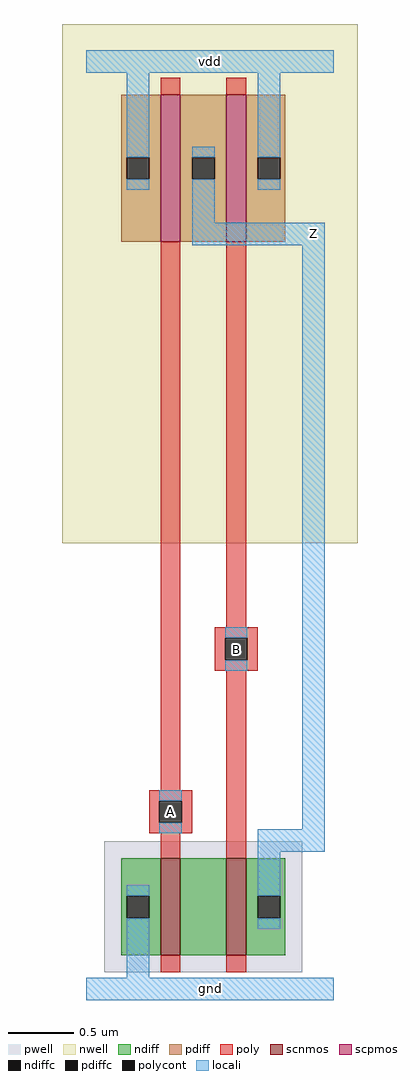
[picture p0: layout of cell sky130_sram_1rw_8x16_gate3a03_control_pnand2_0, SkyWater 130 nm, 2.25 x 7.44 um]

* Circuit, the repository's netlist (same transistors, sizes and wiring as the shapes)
* NGSPICE file created from sky130_sram_1rw_8x16_gate3a03_control_pnand2_0.ext - technology: sky130A

.subckt sky130_sram_1rw_8x16_gate3a03_control_pnand2_0 Z gnd vdd A B
X0 a_144_51# A gnd VSUBS sky130_fd_pr__nfet_01v8 ad=0.259p pd=2.18u as=0.222p ps=2.08u w=0.74u l=0.15u
X1 vdd B Z w_n36_679# sky130_fd_pr__pfet_01v8 ad=0.672p pd=5.68u as=0.392p ps=2.94u w=1.12u l=0.15u
X2 Z A vdd w_n36_679# sky130_fd_pr__pfet_01v8 ad=0p pd=0u as=0p ps=0u w=1.12u l=0.15u
X3 Z B a_144_51# VSUBS sky130_fd_pr__nfet_01v8 ad=0.222p pd=2.08u as=0p ps=0u w=0.74u l=0.15u
.ends

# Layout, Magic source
magic
tech sky130A
magscale 1 2
<< nwell >>
rect -36 679 414 1471
<< pwell >>
rect 28 25 330 225
<< scnmos >>
rect 114 51 144 199
rect 214 51 244 199
<< scpmos >>
rect 114 1139 144 1363
rect 214 1139 244 1363
<< ndiff >>
rect 54 142 114 199
rect 54 108 62 142
rect 96 108 114 142
rect 54 51 114 108
rect 144 51 214 199
rect 244 142 304 199
rect 244 108 262 142
rect 296 108 304 142
rect 244 51 304 108
<< pdiff >>
rect 54 1268 114 1363
rect 54 1234 62 1268
rect 96 1234 114 1268
rect 54 1139 114 1234
rect 144 1268 214 1363
rect 144 1234 162 1268
rect 196 1234 214 1268
rect 144 1139 214 1234
rect 244 1268 304 1363
rect 244 1234 262 1268
rect 296 1234 304 1268
rect 244 1139 304 1234
<< ndiffc >>
rect 62 108 96 142
rect 262 108 296 142
<< pdiffc >>
rect 62 1234 96 1268
rect 162 1234 196 1268
rect 262 1234 296 1268
<< poly >>
rect 114 1363 144 1389
rect 214 1363 244 1389
rect 114 303 144 1139
rect 214 551 244 1139
rect 196 535 262 551
rect 196 501 212 535
rect 246 501 262 535
rect 196 485 262 501
rect 96 287 162 303
rect 96 253 112 287
rect 146 253 162 287
rect 96 237 162 253
rect 114 199 144 237
rect 214 199 244 485
rect 114 25 144 51
rect 214 25 244 51
<< polycont >>
rect 212 501 246 535
rect 112 253 146 287
<< locali >>
rect 0 1397 378 1431
rect 62 1268 96 1397
rect 62 1218 96 1234
rect 162 1268 196 1284
rect 162 1168 196 1234
rect 262 1268 296 1397
rect 262 1218 296 1234
rect 162 1134 364 1168
rect 212 535 246 551
rect 212 485 246 501
rect 112 287 146 303
rect 112 237 146 253
rect 330 243 364 1134
rect 262 209 364 243
rect 62 142 96 158
rect 62 17 96 108
rect 262 142 296 209
rect 262 92 296 108
rect 0 -17 378 17
<< labels >>
rlabel locali s 347 1151 347 1151 4 Z
port 1 nsew
rlabel locali s 189 0 189 0 4 gnd
port 2 nsew
rlabel locali s 189 1414 189 1414 4 vdd
port 3 nsew
rlabel locali s 129 270 129 270 4 A
port 4 nsew
rlabel locali s 229 518 229 518 4 B
port 5 nsew
<< properties >>
string FIXED_BBOX 0 0 378 1167
<< end >>
